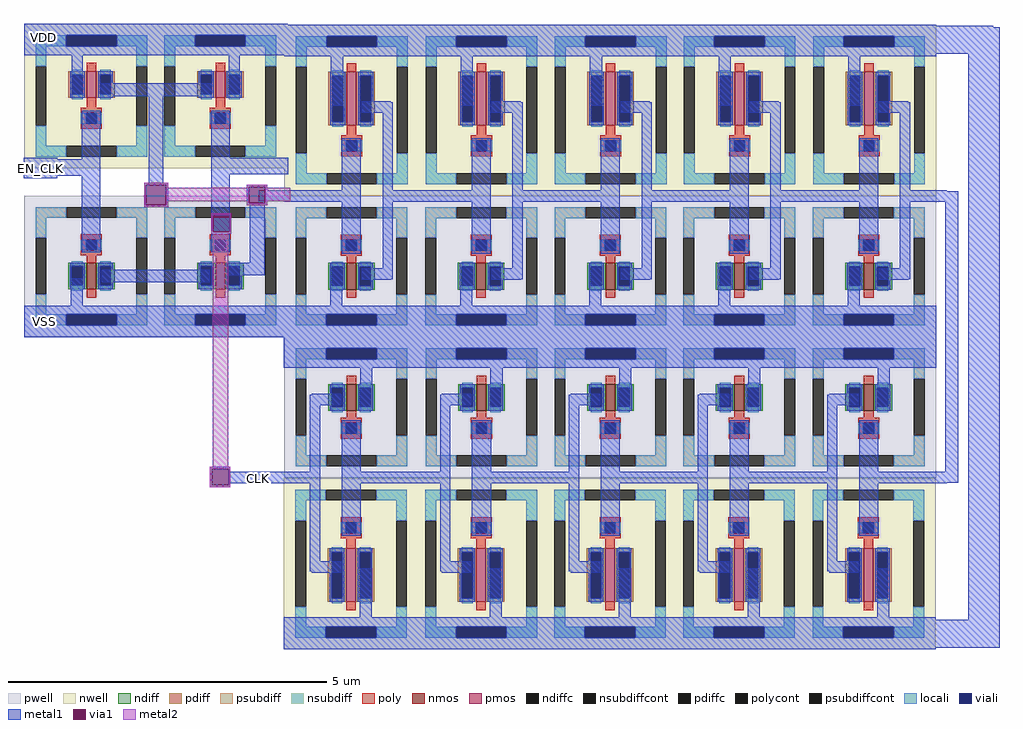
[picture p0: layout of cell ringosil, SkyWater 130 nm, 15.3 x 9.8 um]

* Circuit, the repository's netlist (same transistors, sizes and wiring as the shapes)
** sch_path: /foss/designs/mySAR_SKY130/magic/ringosil/../../xschem/ringosil.sch
*.subckt ringosil EN_CLK CLK VDD VSS
*.PININFO EN_CLK:I CLK:O VDD:I VSS:I
x1 VDD EN_CLK CLK net1 VSS nand
x2 VDD net1 net2 VSS inverter
x3 VDD net2 net3 VSS inverter
x4 VDD net3 net4 VSS inverter
x5 VDD net4 net5 VSS inverter
x6 VDD net5 net6 VSS inverter
x7 VDD net6 net7 VSS inverter
x8 VDD net7 net8 VSS inverter
x9 VDD net8 net9 VSS inverter
x10 VDD net9 net10 VSS inverter
x11 VDD net10 CLK VSS inverter
*.ends

* expanding   symbol:  /foss/designs/mySAR_SKY130/xschem/nand.sym # of pins=5
** sym_path: /foss/designs/mySAR_SKY130/xschem/nand.sym
** sch_path: /foss/designs/mySAR_SKY130/xschem/nand.sch
.subckt nand VDD A B OUT VSS
*.PININFO B:I OUT:O A:I VDD:I VSS:I
XM2 OUT B VDD VDD sky130_fd_pr__pfet_01v8 L=0.15 W=0.42 nf=1 m=1
XM1 OUT B net1 VSS sky130_fd_pr__nfet_01v8 L=0.15 W=0.42 nf=1 m=1
XM3 net1 A VSS VSS sky130_fd_pr__nfet_01v8 L=0.15 W=0.42 nf=1 m=1
XM4 OUT A VDD VDD sky130_fd_pr__pfet_01v8 L=0.15 W=0.42 nf=1 m=1
.ends


* expanding   symbol:  /foss/designs/mySAR_SKY130/xschem/inverter.sym # of pins=4
** sym_path: /foss/designs/mySAR_SKY130/xschem/inverter.sym
** sch_path: /foss/designs/mySAR_SKY130/xschem/inverter.sch
.subckt inverter VDD IN OUT VSS
*.PININFO IN:I VDD:I VSS:I OUT:O
XM1 OUT IN VSS VSS sky130_fd_pr__nfet_01v8 L=0.15 W=0.42 nf=1 m=1
XM2 OUT IN VDD VDD sky130_fd_pr__pfet_01v8 L=0.15 W=0.84 nf=1 m=1
.ends

.end

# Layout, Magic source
magic
tech sky130A
magscale 1 2
<< metal1 >>
rect 4304 2762 4504 2766
rect 1474 2696 1580 2760
rect 4304 2678 4524 2762
rect 1464 2288 1570 2352
rect 2202 2216 2314 2250
rect 4322 2248 4358 2250
rect 4322 2214 4394 2248
rect 2052 2172 2116 2178
rect 2052 2120 2058 2172
rect 2110 2120 2116 2172
rect 2052 2114 2116 2120
rect 1474 1806 1582 1870
rect 2048 1378 2112 1384
rect 2048 1326 2054 1378
rect 2108 1368 2112 1378
rect 4354 1368 4394 2214
rect 2108 1332 2280 1368
rect 4322 1334 4394 1368
rect 4322 1332 4358 1334
rect 2108 1326 2112 1332
rect 2048 1320 2112 1326
rect 4426 904 4524 2678
rect 4304 816 4524 904
<< via1 >>
rect 2058 2120 2110 2172
rect 2054 1326 2108 1378
<< metal2 >>
rect 2052 2172 2116 2178
rect 2052 2120 2058 2172
rect 2110 2120 2116 2172
rect 2052 2114 2116 2120
rect 2058 1384 2106 2114
rect 2048 1378 2112 1384
rect 2048 1326 2054 1378
rect 2108 1326 2112 1378
rect 2048 1320 2112 1326
use nand  x1
transform 1 0 988 0 1 1924
box 478 -134 1312 848
use inverter  x2
transform 1 0 1966 0 1 1800
box 314 -10 738 970
use inverter  x3
transform 1 0 2373 0 1 1800
box 314 -10 738 970
use inverter  x4
transform 1 0 2778 0 1 1800
box 314 -10 738 970
use inverter  x5
transform 1 0 3182 0 1 1800
box 314 -10 738 970
use inverter  x6
transform 1 0 3588 0 1 1800
box 314 -10 738 970
use inverter  x7
transform -1 0 4640 0 -1 1782
box 314 -10 738 970
use inverter  x8
transform -1 0 4234 0 -1 1782
box 314 -10 738 970
use inverter  x9
transform -1 0 3830 0 -1 1782
box 314 -10 738 970
use inverter  x10
transform -1 0 3426 0 -1 1782
box 314 -10 738 970
use inverter  x11
transform -1 0 3018 0 -1 1782
box 314 -10 738 970
<< labels >>
flabel metal1 2154 1332 2250 1362 0 FreeSans 160 0 0 0 CLK
port 5 nsew
flabel metal1 1474 2696 1580 2760 0 FreeSans 160 0 0 0 VDD
port 0 nsew
flabel metal1 1476 1806 1582 1870 0 FreeSans 160 0 0 0 VSS
port 1 nsew
flabel metal1 1464 2288 1570 2352 0 FreeSans 160 0 0 0 EN_CLK
port 7 nsew
<< end >>

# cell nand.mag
magic
tech sky130A
magscale 1 2
<< viali >>
rect 610 778 768 812
rect 1014 778 1172 812
rect 610 -96 768 -62
rect 1014 -96 1172 -62
<< metal1 >>
rect 478 812 1304 848
rect 478 778 610 812
rect 768 778 1014 812
rect 1172 778 1304 812
rect 478 750 1304 778
rect 628 628 662 750
rect 718 622 1066 662
rect 1120 628 1154 750
rect 658 424 716 576
rect 478 372 716 424
rect 658 132 716 372
rect 868 350 914 622
rect 1064 428 1122 576
rect 1064 376 1306 428
rect 854 344 930 350
rect 854 280 860 344
rect 924 280 930 344
rect 854 274 930 280
rect 1064 132 1122 376
rect 1176 338 1240 344
rect 1176 286 1182 338
rect 1234 286 1240 338
rect 1176 280 1240 286
rect 1186 100 1232 280
rect 624 -36 662 50
rect 722 38 1060 78
rect 1118 60 1232 100
rect 478 -62 1304 -36
rect 478 -96 610 -62
rect 768 -96 1014 -62
rect 1172 -96 1304 -62
rect 478 -134 1304 -96
<< via1 >>
rect 860 280 924 344
rect 1182 286 1234 338
<< metal2 >>
rect 854 344 930 350
rect 854 280 860 344
rect 924 334 930 344
rect 1176 338 1240 344
rect 1176 334 1182 338
rect 924 292 1182 334
rect 924 280 930 292
rect 1176 286 1182 292
rect 1234 334 1240 338
rect 1234 292 1312 334
rect 1234 286 1240 292
rect 1176 280 1240 286
rect 854 274 930 280
use sky130_fd_pr__nfet_01v8_L78EGD  sky130_fd_pr__nfet_01v8_L78EGD_0
transform 1 0 1093 0 1 89
box -211 -221 211 221
use sky130_fd_pr__pfet_01v8_2ZD9BZ  sky130_fd_pr__pfet_01v8_2ZD9BZ_0
transform 1 0 689 0 1 622
box -211 -226 211 226
use sky130_fd_pr__pfet_01v8_2ZD9BZ  XM2
transform -1 0 1093 0 1 622
box -211 -226 211 226
use sky130_fd_pr__nfet_01v8_L78EGD  XM4
transform 1 0 689 0 1 89
box -211 -221 211 221
<< labels >>
flabel metal1 478 812 1304 848 0 FreeSans 160 0 0 0 VDD
port 3 nsew
flabel metal2 1234 292 1312 334 0 FreeSans 160 0 0 0 OUT
port 2 nsew
flabel metal1 478 -134 1304 -96 0 FreeSans 160 0 0 0 VSS
port 5 nsew
flabel metal1 480 378 546 420 0 FreeSans 160 0 0 0 A
port 6 nsew
flabel metal1 1236 382 1302 424 0 FreeSans 160 0 0 0 B
port 8 nsew
<< end >>

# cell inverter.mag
magic
tech sky130A
magscale 1 2
<< pwell >>
rect 315 130 661 433
rect 315 -9 737 130
<< viali >>
rect 448 900 606 934
rect 447 27 605 61
<< metal1 >>
rect 316 934 738 970
rect 316 900 448 934
rect 606 900 738 934
rect 316 870 738 900
rect 462 716 500 870
rect 558 726 650 730
rect 558 694 656 726
rect 496 450 556 614
rect 316 414 556 450
rect 496 252 556 414
rect 624 450 656 694
rect 624 414 738 450
rect 460 88 498 208
rect 624 206 656 414
rect 558 172 656 206
rect 558 170 650 172
rect 314 61 738 88
rect 314 27 447 61
rect 605 27 738 61
rect 314 -10 738 27
use sky130_fd_pr__nfet_01v8_EDL9KC  sky130_fd_pr__nfet_01v8_EDL9KC_0
transform 1 0 526 0 1 212
box -211 -221 211 221
use sky130_fd_pr__pfet_01v8_2MG8BZ  sky130_fd_pr__pfet_01v8_2MG8BZ_0
transform 1 0 527 0 1 702
box -211 -268 211 268
<< labels >>
flabel metal1 314 -10 738 26 0 FreeSans 160 0 0 0 VSS
port 5 nsew
flabel metal1 316 414 556 450 0 FreeSans 160 0 0 0 Vin
port 7 nsew
flabel metal1 624 414 738 450 0 FreeSans 160 0 0 0 Vout
port 8 nsew
flabel metal1 316 932 738 970 0 FreeSans 160 0 0 0 VDD
port 6 nsew
<< end >>

# cell sky130_fd_pr__nfet_01v8_EDL9KC: kit device sky130_fd_pr__nfet_01v8, w 0.420 l 0.150 m 1 nf 1 diffcov 100 polycov 100 guard 1 glc 1 grc 1 gtc 1 gbc 1 tbcov 100 rlcov 100 topc 1 botc 0 poverlap 0 doverlap 1 lmin 0.15 wmin 0.42 compatible {sky130_fd_pr__nfet_01v8 sky130_fd_pr__nfet_01v8_lvt sky130_fd_bs_flash__special_sonosfet_star sky130_fd_pr__nfet_g5v0d10v5 sky130_fd_pr__nfet_05v0_nvt sky130_fd_pr__nfet_03v3_nvt} full_metal 1 viasrc 100 viadrn 100 viagate 100 viagb 0 viagr 0 viagl 0 viagt 0

# cell sky130_fd_pr__pfet_01v8_2MG8BZ: kit device sky130_fd_pr__pfet_01v8, w 0.84 l 0.15 m 1 nf 1 diffcov 100 polycov 100 guard 1 glc 1 grc 1 gtc 1 gbc 1 tbcov 100 rlcov 100 topc 0 botc 1 poverlap 0 doverlap 1 lmin 0.15 wmin 0.42 compatible {sky130_fd_pr__pfet_01v8 sky130_fd_pr__pfet_01v8_lvt sky130_fd_pr__pfet_01v8_hvt sky130_fd_pr__pfet_g5v0d10v5} full_metal 1 viasrc 100 viadrn 100 viagate 100 viagb 0 viagr 0 viagl 0 viagt 0

# cell sky130_fd_pr__nfet_01v8_L78EGD: kit device sky130_fd_pr__nfet_01v8, w 0.42 l 0.15 m 1 nf 1 diffcov 100 polycov 100 guard 1 glc 1 grc 1 gtc 1 gbc 1 tbcov 100 rlcov 100 topc 1 botc 0 poverlap 0 doverlap 1 lmin 0.15 wmin 0.42 compatible {sky130_fd_pr__nfet_01v8 sky130_fd_pr__nfet_01v8_lvt sky130_fd_bs_flash__special_sonosfet_star sky130_fd_pr__nfet_g5v0d10v5 sky130_fd_pr__nfet_05v0_nvt sky130_fd_pr__nfet_03v3_nvt} full_metal 1 viasrc 100 viadrn 100 viagate 100 viagb 0 viagr 0 viagl 0 viagt 0

# cell sky130_fd_pr__pfet_01v8_2ZD9BZ: kit device sky130_fd_pr__pfet_01v8, w 0.42 l 0.15 m 1 nf 1 diffcov 100 polycov 100 guard 1 glc 1 grc 1 gtc 1 gbc 1 tbcov 100 rlcov 100 topc 0 botc 1 poverlap 0 doverlap 1 lmin 0.15 wmin 0.42 compatible {sky130_fd_pr__pfet_01v8 sky130_fd_pr__pfet_01v8_lvt sky130_fd_pr__pfet_01v8_hvt sky130_fd_pr__pfet_g5v0d10v5} full_metal 1 viasrc 100 viadrn 100 viagate 100 viagb 0 viagr 0 viagl 0 viagt 0
